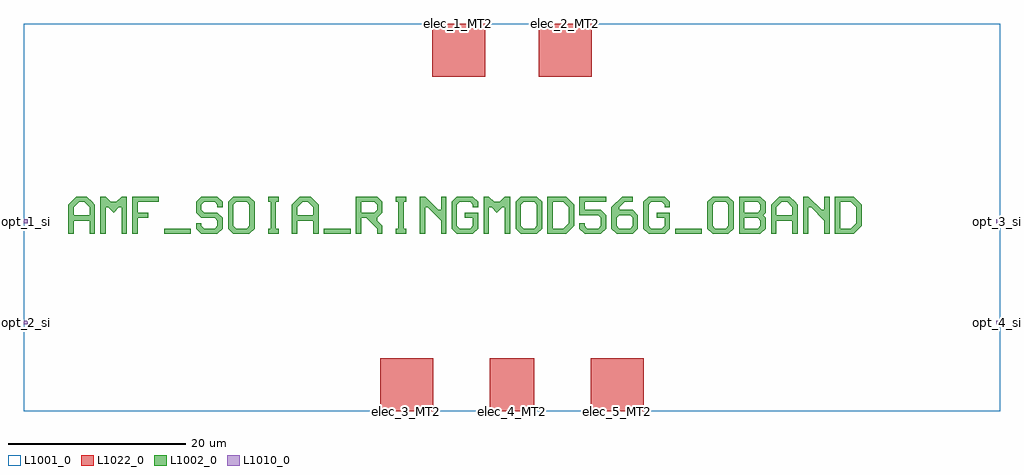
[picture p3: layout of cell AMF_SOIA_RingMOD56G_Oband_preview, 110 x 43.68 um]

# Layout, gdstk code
import gdstk
lib = gdstk.Library(unit=1e-6, precision=1e-09)
def R(c, l, rs):  # rectangles x0, y0, x1, y1
    for r in rs: c.add(gdstk.rectangle(r[:2], r[2:], *l))
def P(c, l, *ps):  # polygons
    for p in ps: c.add(gdstk.Polygon(p, *l))
L1001_0 = (1001, 0)
L1002_0 = (1002, 0)
L1010_0 = (1010, 0)
L1022_0 = (1022, 0)

amf_soia_ringmod56g_oban = lib.new_cell('AMF_SOIA_RingMOD56G_Oband_preview')
R(amf_soia_ringmod56g_oban, L1001_0, [(0,-10,110,33.68)])
R(amf_soia_ringmod56g_oban, L1002_0, [(15.8,10,18.8,10.6), (33.8,10,36.8,10.6), (73.4,10,76.4,10.6)])
P(amf_soia_ringmod56g_oban, L1002_0, [(5,10),(5,13.3),(5.9,14.2),(7.1,14.2),(7.7,13.6),(6.2,13.6),(5.6,13),(5.6,12.1),(7.4,12.1),(7.4,13),(6.8,13.6),(7.7,13.6),(8,13.3),(8,10),(7.4,10),(7.4,11.5),(5.6,11.5),(5.6,10)],
  [(8.6,10),(8.6,14.2),(9.2,14.2),(9.8,13.6),(10.4,13.6),(11,14.2),(11.6,14.2),(11.6,10),(11,10),(11,13),(10.7,13),(10.1,12.4),(9.5,13),(9.2,13),(9.2,10)],
  [(12.2,10),(12.2,14.2),(15.2,14.2),(15.2,13.6),(12.8,13.6),(12.8,12.4),(14,12.4),(14,11.8),(12.8,11.8),(12.8,10)],
  [(20,10),(19.4,10.6),(19.4,11.2),(20,11.2),(20,10.9),(20.3,10.6),(21.5,10.6),(21.8,10.9),(21.8,11.5),(21.5,11.8),(20,11.8),(19.4,12.4),(19.4,13.6),(20,14.2),(21.8,14.2),(22.4,13.6),(22.4,13),(21.8,13),(21.8,13.3),(21.5,13.6),(20.3,13.6),(20,13.3),(20,12.7),(20.3,12.4),(21.8,12.4),(22.4,11.8),(22.4,10.6),(21.8,10)],
  [(23.6,10),(23,10.6),(23,13.6),(23.6,14.2),(25.4,14.2),(26,13.6),(26,12.1),(25.4,12.1),(25.4,13.3),(25.1,13.6),(23.9,13.6),(23.6,13.3),(23.6,10.9),(23.9,10.6),(25.1,10.6),(25.4,10.9),(25.4,12.1),(26,12.1),(26,10.6),(25.4,10)],
  [(27.5,10),(27.5,10.6),(27.8,10.6),(27.8,13.6),(27.5,13.6),(27.5,14.2),(28.7,14.2),(28.7,13.6),(28.4,13.6),(28.4,10.6),(28.7,10.6),(28.7,10)],
  [(30.2,10),(30.2,13.3),(31.1,14.2),(32.3,14.2),(32.9,13.6),(31.4,13.6),(30.8,13),(30.8,12.1),(32.6,12.1),(32.6,13),(32,13.6),(32.9,13.6),(33.2,13.3),(33.2,10),(32.6,10),(32.6,11.5),(30.8,11.5),(30.8,10)],
  [(37.4,10),(37.4,14.2),(39.8,14.2),(40.4,13.6),(38,13.6),(38,12.4),(39.5,12.4),(39.8,12.7),(39.8,13.3),(39.5,13.6),(40.4,13.6),(40.4,12.4),(39.8,11.8),(39.8,11.5),(40.4,10.9),(40.4,10),(39.8,10),(39.8,10.6),(38.6,11.8),(38,11.8),(38,10)],
  [(41.9,10),(41.9,10.6),(42.2,10.6),(42.2,13.6),(41.9,13.6),(41.9,14.2),(43.1,14.2),(43.1,13.6),(42.8,13.6),(42.8,10.6),(43.1,10.6),(43.1,10)],
  [(44.6,10),(44.6,14.2),(45.2,14.2),(46.7,12.7),(47,12.7),(47,14.2),(47.6,14.2),(47.6,10),(47,10),(47,11.5),(45.5,13),(45.2,13),(45.2,10)],
  [(48.8,10),(48.2,10.6),(48.2,13.6),(48.8,14.2),(50.6,14.2),(51.2,13.6),(51.2,13),(50.6,13),(50.6,13.3),(50.3,13.6),(49.1,13.6),(48.8,13.3),(48.8,10.9),(49.1,10.6),(50.3,10.6),(50.6,10.9),(50.6,11.8),(49.7,11.8),(49.7,12.4),(51.2,12.4),(51.2,10.6),(50.6,10)],
  [(51.8,10),(51.8,14.2),(52.4,14.2),(53,13.6),(53.6,13.6),(54.2,14.2),(54.8,14.2),(54.8,10),(54.2,10),(54.2,13),(53.9,13),(53.3,12.4),(52.7,13),(52.4,13),(52.4,10)],
  [(56,10),(55.4,10.6),(55.4,13.6),(56,14.2),(57.8,14.2),(58.4,13.6),(58.4,12.1),(57.8,12.1),(57.8,13.3),(57.5,13.6),(56.3,13.6),(56,13.3),(56,10.9),(56.3,10.6),(57.5,10.6),(57.8,10.9),(57.8,12.1),(58.4,12.1),(58.4,10.6),(57.8,10)],
  [(59,10),(59,14.2),(61.1,14.2),(61.7,13.6),(59.6,13.6),(59.6,10.6),(60.8,10.6),(61.4,11.2),(61.4,13),(60.8,13.6),(61.7,13.6),(62,13.3),(62,10.9),(61.1,10)],
  [(63.2,10),(62.6,10.6),(62.6,11.2),(63.2,11.2),(63.2,10.9),(63.5,10.6),(64.7,10.6),(65,10.9),(65,11.8),(64.7,12.1),(62.6,12.1),(62.6,14.2),(65.6,14.2),(65.6,13.6),(63.2,13.6),(63.2,12.7),(65,12.7),(65.6,12.1),(65.6,10.6),(65,10)],
  [(66.8,10),(66.2,10.6),(66.2,13),(67.4,14.2),(68.6,14.2),(68.6,13.6),(67.7,13.6),(67.1,13),(67.1,12.7),(68.6,12.7),(69.2,12.1),(67.1,12.1),(66.8,11.8),(66.8,10.9),(67.1,10.6),(68.3,10.6),(68.6,10.9),(68.6,11.8),(68.3,12.1),(69.2,12.1),(69.2,10.6),(68.6,10)],
  [(70.4,10),(69.8,10.6),(69.8,13.6),(70.4,14.2),(72.2,14.2),(72.8,13.6),(72.8,13),(72.2,13),(72.2,13.3),(71.9,13.6),(70.7,13.6),(70.4,13.3),(70.4,10.9),(70.7,10.6),(71.9,10.6),(72.2,10.9),(72.2,11.8),(71.3,11.8),(71.3,12.4),(72.8,12.4),(72.8,10.6),(72.2,10)],
  [(77.6,10),(77,10.6),(77,13.6),(77.6,14.2),(79.4,14.2),(80,13.6),(80,12.1),(79.4,12.1),(79.4,13.3),(79.1,13.6),(77.9,13.6),(77.6,13.3),(77.6,10.9),(77.9,10.6),(79.1,10.6),(79.4,10.9),(79.4,12.1),(80,12.1),(80,10.6),(79.4,10)],
  [(80.6,10),(80.6,14.2),(83,14.2),(83.6,13.6),(81.2,13.6),(81.2,12.4),(82.7,12.4),(83,12.7),(83,13.3),(82.7,13.6),(83.6,13.6),(83.6,12.4),(83.3,12.1),(83.6,11.8),(81.2,11.8),(81.2,10.6),(82.7,10.6),(83,10.9),(83,11.5),(82.7,11.8),(83.6,11.8),(83.6,10.6),(83,10)],
  [(84.2,10),(84.2,13.3),(85.1,14.2),(86.3,14.2),(86.9,13.6),(85.4,13.6),(84.8,13),(84.8,12.1),(86.6,12.1),(86.6,13),(86,13.6),(86.9,13.6),(87.2,13.3),(87.2,10),(86.6,10),(86.6,11.5),(84.8,11.5),(84.8,10)],
  [(87.8,10),(87.8,14.2),(88.4,14.2),(89.9,12.7),(90.2,12.7),(90.2,14.2),(90.8,14.2),(90.8,10),(90.2,10),(90.2,11.5),(88.7,13),(88.4,13),(88.4,10)],
  [(91.4,10),(91.4,14.2),(93.5,14.2),(94.1,13.6),(92,13.6),(92,10.6),(93.2,10.6),(93.8,11.2),(93.8,13),(93.2,13.6),(94.1,13.6),(94.4,13.3),(94.4,10.9),(93.5,10)])
R(amf_soia_ringmod56g_oban, L1010_0, [(0,-0.205,0.41,0.205), (109.59,-0.205,110,0.205), (0,11.215,0.41,11.625), (109.59,11.215,110,11.625)])
R(amf_soia_ringmod56g_oban, L1022_0, [(40.125,-10,46.125,-4), (52.5,-10,57.5,-4), (63.875,-10,69.875,-4), (46,27.68,52,33.68), (58,27.68,64,33.68)])
amf_soia_ringmod56g_oban.add(gdstk.Label('opt_1_si', (0,11.42), layer=1010, texttype=0))
amf_soia_ringmod56g_oban.add(gdstk.Label('opt_3_si', (110,11.42), layer=1010, texttype=0))
amf_soia_ringmod56g_oban.add(gdstk.Label('opt_4_si', (110,0.003), layer=1010, texttype=0))
amf_soia_ringmod56g_oban.add(gdstk.Label('opt_2_si', (0,0), layer=1010, texttype=0))
amf_soia_ringmod56g_oban.add(gdstk.Label('elec_3_MT2', (43.125,-10), layer=1022, texttype=0))
amf_soia_ringmod56g_oban.add(gdstk.Label('elec_5_MT2', (66.875,-10), layer=1022, texttype=0))
amf_soia_ringmod56g_oban.add(gdstk.Label('elec_1_MT2', (49,33.68), layer=1022, texttype=0))
amf_soia_ringmod56g_oban.add(gdstk.Label('elec_2_MT2', (61,33.68), layer=1022, texttype=0))
amf_soia_ringmod56g_oban.add(gdstk.Label('elec_4_MT2', (55,-10), layer=1022, texttype=0))

lib.write_gds('AMF_SOIA_RingMOD56G_Oband_preview.gds')
